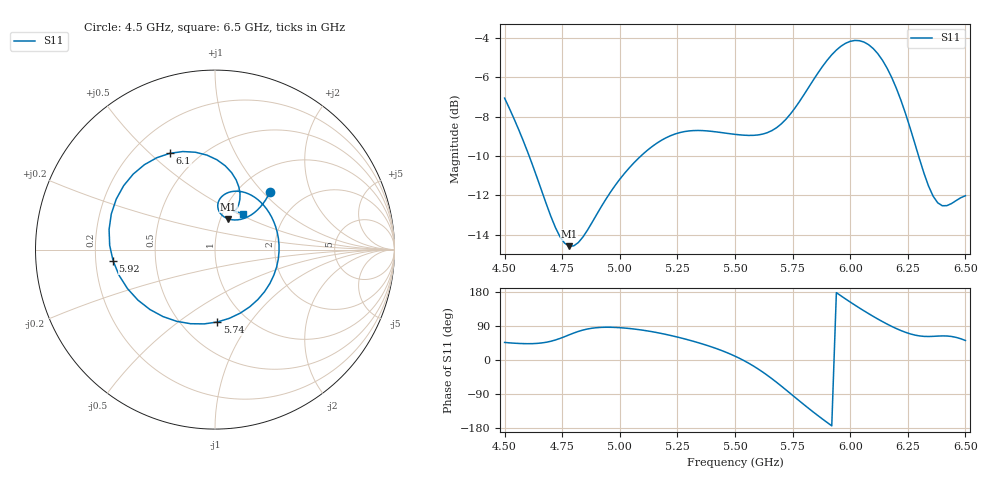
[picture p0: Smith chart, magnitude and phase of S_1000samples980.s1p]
! TOUCHSTONE file generated by CST MICROWAVE STUDIO
! Date and time: Sat Oct 29 23:50:40 2022
! Project name: L.cst
! Parameters = {Di=1.27; Epsilon_r=1.56; InnerDiameter=1.27; Length=2; Lf=10; Lg=60; OuterConductorThickness=0.2921; OuterDiameter=3.6; Wf=3; Wp=41.2; de=1.5; df=6.8; g=0.8; gx=0.488056; gy=0.632428; h=2.34; hf=1.524; px=10.1473; py=10.1457; w=9.7; wx=9.65922; wy=9.51326}
! Header version: 2018
! Port assignment regex: !\s*Touchstone port\s*([0-9]+)\s*=\s*(CST MWS port|CST DS port)\s*([0-9]+|Zmin|Zmax)\s*\(\"(.*)\"\)(\s*mode\s*([0-9]+))?.*
! Touchstone port assignment:
! Touchstone port 1 = CST MWS port 1 ("")
# GHz S DB R 50
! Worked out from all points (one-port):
!   101 points, 4.5 GHz to 6.5 GHz, reference 50 ohm
!   lowest |S11| = -14.6 dB at 4.78 GHz (marker M1), VSWR 1.46, Z = 54.5 + j19.3 ohm
!   |S11| at or under -10 dB: 4.606 GHz to 5.092 GHz (485.6 MHz wide, 10 % of centre); 6.297 GHz to end of sweep
!   S11 on the Smith chart (normalised r, x): 4.5 GHz: 1.37, +1.10; 5.74 GHz: 0.74, -0.71; 5.92 GHz: 0.27, -0.05; 6.1 GHz: 0.35, +0.58; 6.5 GHz: 1.25, +0.52
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4.5  -7.06 46.4
4.64  -11.08 43.8
4.76  -14.42 61.5
4.78  -14.58 66.4
4.88  -13.37 83.9
5  -11.18 85.3
5.14  -9.53 74.7
5.26  -8.82 59.0
5.38  -8.73 38.2
5.5  -8.90 10.1
5.56  -8.96 -8.7
5.62  -8.89 -31.7
5.68  -8.57 -58.7
5.74  -7.88 -88.2
5.76  -7.57 -98.2
5.8  -6.88 -118.1
5.84  -6.15 -137.4
5.92  -4.86 -173.7
5.96  -4.43 169.3
6  -4.18 153.0
6.06  -4.22 129.7
6.1  -4.55 115.1
6.14  -5.14 101.4
6.18  -6.01 88.7
6.26  -8.58 69.0
6.32  -10.87 62.3
6.38  -12.38 63.1
6.5  -12.02 51.5
